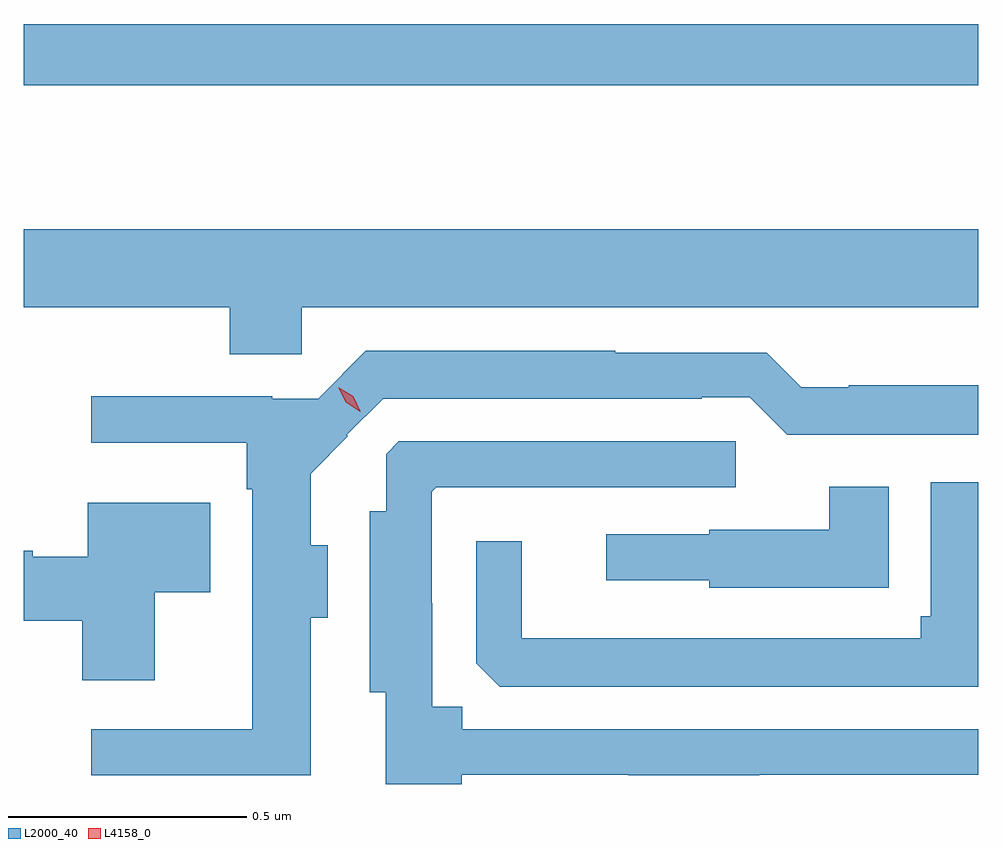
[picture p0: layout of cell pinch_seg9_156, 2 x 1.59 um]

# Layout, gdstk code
import gdstk
lib = gdstk.Library(unit=1e-6, precision=1e-09)
def R(c, l, rs):  # rectangles x0, y0, x1, y1
    for r in rs: c.add(gdstk.rectangle(r[:2], r[2:], *l))
def P(c, l, *ps):  # polygons
    for p in ps: c.add(gdstk.Polygon(p, *l))
L2000_40 = (2000, 40)
L4158_0 = (4158, 0)

pinch_seg9_156 = lib.new_cell('pinch_seg9_156')
R(pinch_seg9_156, L2000_40, [(756.636,1190.226,758.636,1190.354)])
P(pinch_seg9_156, L2000_40, [(756.636,1189.76),(757.067,1189.76),(757.067,1189.662),(757.218,1189.662),(757.218,1189.76),(758.636,1189.76),(758.636,1189.924),(756.636,1189.924)],
  [(757.237,1189.109),(757.273,1189.109),(757.273,1189.261),(757.237,1189.261),(757.237,1189.411),(757.315,1189.49),(757.313,1189.493),(757.389,1189.569),(757.492,1189.569),(757.492,1189.568),(757.775,1189.568),(757.775,1189.569),(758.057,1189.569),(758.057,1189.572),(758.157,1189.572),(758.236,1189.493),(758.636,1189.493),(758.636,1189.597),(758.365,1189.597),(758.365,1189.593),(758.265,1189.593),(758.193,1189.665),(757.875,1189.665),(757.875,1189.669),(757.353,1189.669),(757.253,1189.569),(757.157,1189.569),(757.157,1189.574),(756.777,1189.574),(756.777,1189.476),(757.103,1189.476),(757.103,1189.379),(757.115,1189.379),(757.115,1188.876),(756.777,1188.876),(756.777,1188.779),(757.237,1188.779)],
  [(757.554,1188.78),(757.903,1188.78),(757.903,1188.779),(758.177,1188.779),(758.177,1188.78),(758.636,1188.78),(758.636,1188.876),(757.555,1188.876),(757.555,1188.923),(757.492,1188.923),(757.492,1189.14),(757.491,1189.14),(757.491,1189.374),(757.5,1189.383),(758.128,1189.383),(758.128,1189.479),(757.422,1189.479),(757.395,1189.452),(757.395,1189.333),(757.361,1189.333),(757.361,1188.953),(757.394,1188.953),(757.394,1188.761),(757.554,1188.761)],
  [(758.636,1189.393),(758.537,1189.393),(758.537,1189.113),(758.516,1189.113),(758.516,1189.066),(757.679,1189.066),(757.679,1189.27),(757.584,1189.27),(757.584,1189.014),(757.633,1188.965),(758.636,1188.965)],
  [(758.449,1189.384),(758.324,1189.384),(758.324,1189.294),(758.073,1189.294),(758.073,1189.284),(757.857,1189.284),(757.857,1189.188),(758.073,1189.188),(758.073,1189.172),(758.449,1189.172)],
  [(756.91,1189.163),(757.027,1189.163),(757.027,1189.351),(756.77,1189.351),(756.77,1189.237),(756.654,1189.237),(756.654,1189.25),(756.636,1189.25),(756.636,1189.103),(756.758,1189.103),(756.758,1188.978),(756.91,1188.978)])
P(pinch_seg9_156, L4158_0, [(757.341,1189.541),(757.311,1189.561),(757.295,1189.593),(757.295,1189.593),(757.295,1189.593),(757.326,1189.574),(757.341,1189.542),(757.341,1189.541)])

lib.write_gds('pinch_seg9_156.gds')
